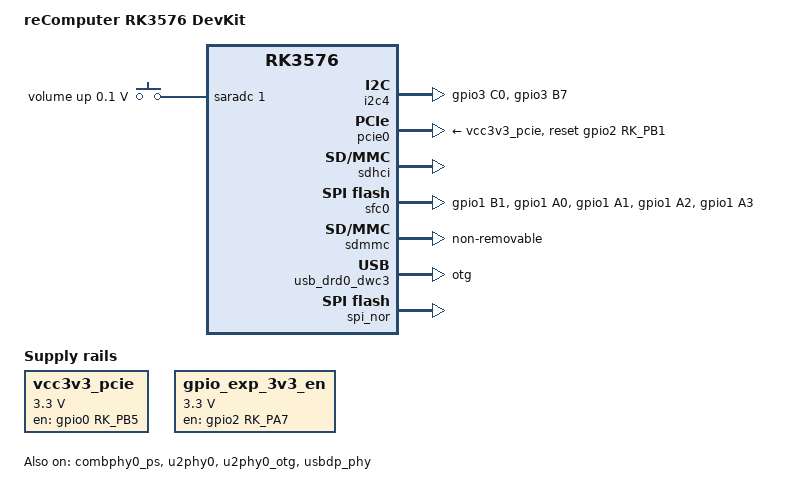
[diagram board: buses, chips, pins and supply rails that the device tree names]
// SPDX-License-Identifier: (GPL-2.0+ OR MIT)
/*
 * Copyright (c) 2024 Rockchip Electronics Co., Ltd
 * Copyright (c) 2024 Radxa Computer (Shenzhen) Co., Ltd
 * Copyright (c) 2026 Seeed Studio
 *
 * Ported from the Seeed Armbian U-Boot board file for this board onto the
 * Rockchip SDK 2017.09 tree. The board keeps &sdhci enabled with explicit
 * eMMC pin groups, and the volume-up ADC key uses the corrected press
 * threshold.
 */

/dts-v1/;
#include "rk3576.dtsi"
#include "rk3576-u-boot.dtsi"
#include <dt-bindings/input/input.h>

/ {
	model = "reComputer RK3576 DevKit";
	compatible = "seeed,recomputer-rk3576-devkit", "rockchip,rk3576";

	adc-keys {
		compatible = "adc-keys";
		io-channels = <&saradc 1>;
		io-channel-names = "buttons";
		keyup-threshold-microvolt = <1800000>;
		u-boot,dm-pre-reloc;
		status = "okay";

		volumeup-key {
			u-boot,dm-pre-reloc;
			linux,code = <KEY_VOLUMEUP>;
			label = "volume up";
			/*
			 * Volume-up shorts SARADC ch1 to GND when pressed
			 * (~0.02 V; released ~VREF). Threshold 100000 uV gives
			 * press window [0, 175000] — captures pressed, rejects
			 * VREF + noise. Previous 1750000 uV setting put VREF
			 * inside the window and triggered false download-mode.
			 */
			press-threshold-microvolt = <100000>;
		};
	};

	vcc3v3_pcie: vcc3v3-pcie {
		u-boot,dm-pre-reloc;
		compatible = "regulator-fixed";
		regulator-name = "vcc3v3_pcie";
		regulator-min-microvolt = <3300000>;
		regulator-max-microvolt = <3300000>;
		enable-active-high;
		gpios = <&gpio0 RK_PB5 GPIO_ACTIVE_HIGH>;
		startup-delay-us = <5000>;
		pinctrl-names = "default";
		pinctrl-0 = <&pcie_pwr_en>;
	};

	gpio_exp_3v3_en: gpio_exp_3v3_en {
		u-boot,dm-pre-reloc;
		compatible = "regulator-fixed";
		regulator-name = "exp_3v3_en";
		regulator-min-microvolt = <3300000>;
		regulator-max-microvolt = <3300000>;
		regulator-always-on;
		regulator-boot-on;
		enable-active-high;
		gpios = <&gpio2 RK_PA7 GPIO_ACTIVE_HIGH>;
		pinctrl-names = "default";
		pinctrl-0 = <&vsys_3v3_exp_en>;
	};
};

&i2c4 {
	status = "okay";
	pinctrl-0 = <&eeprom_i2c_pin>;
	u-boot,dm-pre-reloc;
	u-boot,dm-spl;
};

&combphy0_ps {
	u-boot,dm-pre-reloc;
	status = "okay";
};

&pcie0 {
	u-boot,dm-pre-reloc;
	reset-gpios = <&gpio2 RK_PB1 GPIO_ACTIVE_HIGH>;
	rockchip,skip-scan-in-resume;
	vpcie3v3-supply = <&vcc3v3_pcie>;
	status = "okay";
};

&pcie0_intc {
	u-boot,dm-pre-reloc;
};

/*
 * The board can boot its runtime from eMMC, so the controller stays enabled
 * in U-Boot (the Armbian original disables it while booting from SD + SPI-NOR
 * only). The SoC dtsi already carries the five reset
 * lines; add the explicit pin groups the same way the RK3588 board file
 * does - without them the eMMC pads keep whatever mux earlier boot stages
 * left behind and mmc 0 init fails with -95.  The pin GROUP nodes must
 * also carry dm markers or U-Boot's reduced device tree drops them,
 * dangles pinctrl-0 and reproduces the failure.
 */
&sdhci {
	u-boot,dm-pre-reloc;
	status = "okay";
	pinctrl-names = "default";
	pinctrl-0 = <&emmc_rstnout &emmc_bus8 &emmc_clk &emmc_cmd>;
};

&emmc_rstnout { u-boot,dm-spl; u-boot,dm-pre-reloc; };
&emmc_bus8 { u-boot,dm-spl; u-boot,dm-pre-reloc; };
&emmc_clk { u-boot,dm-spl; u-boot,dm-pre-reloc; };
&emmc_cmd { u-boot,dm-spl; u-boot,dm-pre-reloc; };

&sfc0 {
	status = "okay";
	u-boot,dm-pre-reloc;
	pinctrl-names = "default";
	pinctrl-0 = <&fspi0_pins>;
};

&sdmmc {
	pinctrl-names = "default";
	pinctrl-0 = <&sdmmc0_clk &sdmmc0_cmd &sdmmc0_det &sdmmc0_bus4>;
	/* Probe mmc 1 unconditionally in Loader mode rockusb. rk3576-u-boot.dtsi
	 * uses controller-internal sdmmc0_det (no cd-gpios), so non-removable is enough. */
	non-removable;
};

&u2phy0 {
	u-boot,dm-pre-reloc;
	status = "okay";
};

&u2phy0_otg {
	u-boot,dm-pre-reloc;
	status = "okay";
};

&usbdp_phy {
	u-boot,dm-pre-reloc;
	status = "okay";
};

&usb_drd0_dwc3 {
	u-boot,dm-pre-reloc;
	dr_mode = "otg";
	extcon = <&u2phy0>;
	status = "okay";
};

&spi_nor {
	status = "okay";
	u-boot,dm-pre-reloc;
};

&pinctrl {
	u-boot,dm-pre-reloc;
	u-boot,dm-spl;
	status = "okay";
	eeprom_i2c {
		u-boot,dm-pre-reloc;
		u-boot,dm-spl;
		eeprom_i2c_pin: eeprom-i2c-pin {
			u-boot,dm-pre-reloc;
			u-boot,dm-spl;
			rockchip,pins =
				/* i2c4_scl_m3 */
				<3 RK_PC0 11 &pcfg_pull_none>,
				/* i2c4_sda_m3 */
				<3 RK_PB7 11 &pcfg_pull_none>;
		};
	};

	pcie {
		u-boot,dm-pre-reloc;
		pcie_pwr_en: pcie-pwr-en {
			u-boot,dm-pre-reloc;
			rockchip,pins = <0 RK_PB5 RK_FUNC_GPIO &pcfg_pull_none>;
		};
	};

	gpio_exp_en {
		vsys_3v3_exp_en: vsys-3v3-exp-en {
			rockchip,pins = <2 RK_PA7 RK_FUNC_GPIO &pcfg_pull_none>;
		};
	};

	/delete-node/ fspi0;
	fspi0 {
		u-boot,dm-spl;
		fspi0_pins: fspi0-pins {
			u-boot,dm-spl;
			rockchip,pins =
				/* fspi0_clk */
				<1 RK_PB1 2 &pcfg_pull_none>,
				/* fspi0_d0 */
				<1 RK_PA0 2 &pcfg_pull_none>,
				/* fspi0_d1 */
				<1 RK_PA1 2 &pcfg_pull_none>,
				/* fspi0_d2 */
				<1 RK_PA2 2 &pcfg_pull_none>,
				/* fspi0_d3 */
				<1 RK_PA3 2 &pcfg_pull_none>;
		};

		fspi0_csn0: fspi0-csn0 {
			u-boot,dm-spl;
			rockchip,pins =
				/* fspi0_csn0 */
				<1 RK_PB3 2 &pcfg_pull_none>;
		};
	};
};
